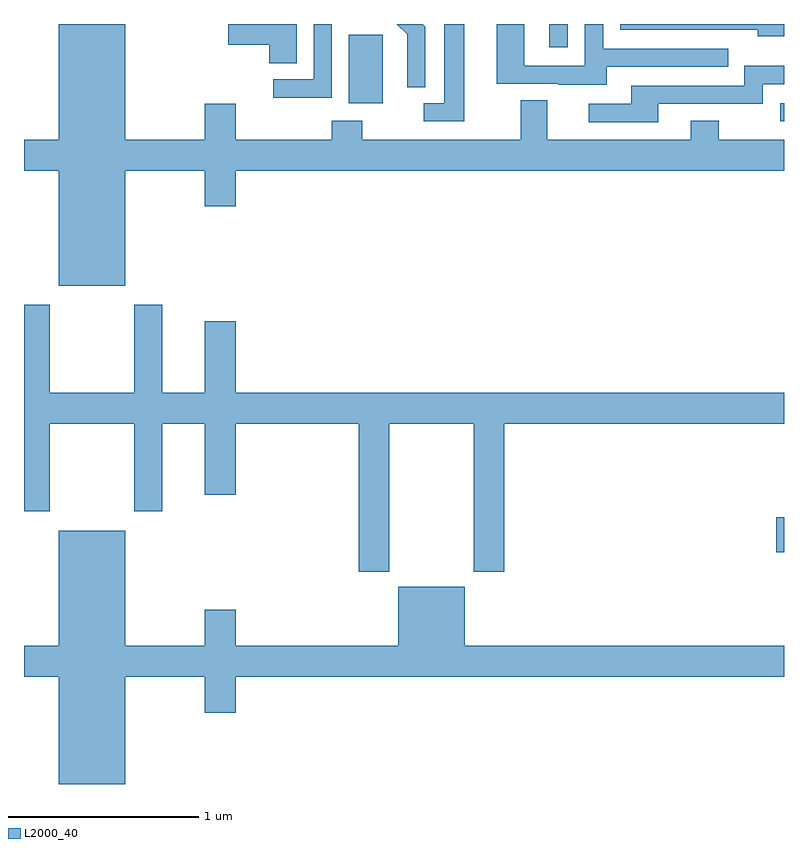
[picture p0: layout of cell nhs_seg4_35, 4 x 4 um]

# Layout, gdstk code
import gdstk
lib = gdstk.Library(unit=1e-6, precision=1e-09)
def R(c, l, rs):  # rectangles x0, y0, x1, y1
    for r in rs: c.add(gdstk.rectangle(r[:2], r[2:], *l))
def P(c, l, *ps):  # polygons
    for p in ps: c.add(gdstk.Polygon(p, *l))
L2000_40 = (2000, 40)

nhs_seg4_35 = lib.new_cell('nhs_seg4_35')
R(nhs_seg4_35, L2000_40, [(114.96,820.121,115,820.304), (114.981,822.387,115,822.483), (112.709,822.482,112.888,822.843), (113.765,822.777,113.862,822.9)])
P(nhs_seg4_35, L2000_40, [(114.067,822.675),(114.707,822.675),(114.707,822.771),(114.048,822.771),(114.048,822.9),(113.952,822.9),(113.952,822.681),(113.634,822.681),(113.634,822.9),(113.489,822.9),(113.489,822.585),(113.813,822.585),(113.813,822.581),(114.067,822.581)],
  [(112.435,822.9),(112.074,822.9),(112.074,822.79),(112.292,822.79),(112.292,822.694),(112.435,822.694)],
  [(113.317,822.9),(113.213,822.9),(113.213,822.483),(113.103,822.483),(113.103,822.387),(113.317,822.387)],
  [(115,822.9),(114.138,822.9),(114.138,822.87),(114.863,822.87),(114.863,822.836),(115,822.836)],
  [(113.112,822.886),(113.098,822.9),(112.962,822.9),(113.018,822.845),(113.018,822.722),(113.016,822.722),(113.016,822.568),(113.112,822.568)],
  [(112.62,822.9),(112.524,822.9),(112.524,822.609),(112.311,822.609),(112.311,822.511),(112.62,822.511)],
  [(111.532,822.128),(111.95,822.128),(111.95,821.94),(112.114,821.94),(112.114,822.128),(115,822.128),(115,822.292),(114.657,822.292),(114.657,822.391),(114.509,822.391),(114.509,822.292),(113.755,822.292),(113.755,822.5),(113.615,822.5),(113.615,822.292),(112.779,822.292),(112.779,822.391),(112.619,822.391),(112.619,822.292),(112.114,822.292),(112.114,822.481),(111.95,822.481),(111.95,822.292),(111.532,822.292),(111.532,822.898),(111.182,822.898),(111.182,822.292),(111,822.292),(111,822.128),(111.182,822.128),(111.182,821.522),(111.532,821.522)],
  [(114.337,822.48),(114.888,822.48),(114.888,822.582),(115,822.582),(115,822.679),(114.792,822.679),(114.792,822.576),(114.197,822.576),(114.197,822.48),(113.973,822.48),(113.973,822.384),(114.337,822.384)],
  [(112.923,820.796),(113.368,820.796),(113.368,820.017),(113.528,820.017),(113.528,820.796),(115,820.796),(115,820.96),(112.114,820.96),(112.114,821.335),(111.95,821.335),(111.95,820.96),(111.727,820.96),(111.727,821.422),(111.58,821.422),(111.58,820.96),(111.135,820.96),(111.135,821.422),(111,821.422),(111,820.335),(111.135,820.335),(111.135,820.796),(111.58,820.796),(111.58,820.335),(111.727,820.335),(111.727,820.796),(111.95,820.796),(111.95,820.422),(112.114,820.422),(112.114,820.796),(112.763,820.796),(112.763,820.017),(112.923,820.017)],
  [(111.532,819.464),(111.95,819.464),(111.95,819.276),(112.114,819.276),(112.114,819.464),(115,819.464),(115,819.628),(113.32,819.628),(113.32,819.937),(112.97,819.937),(112.97,819.628),(112.114,819.628),(112.114,819.817),(111.95,819.817),(111.95,819.628),(111.532,819.628),(111.532,820.234),(111.182,820.234),(111.182,819.628),(111,819.628),(111,819.464),(111.182,819.464),(111.182,818.9),(111.532,818.9)])

lib.write_gds('nhs_seg4_35.gds')
